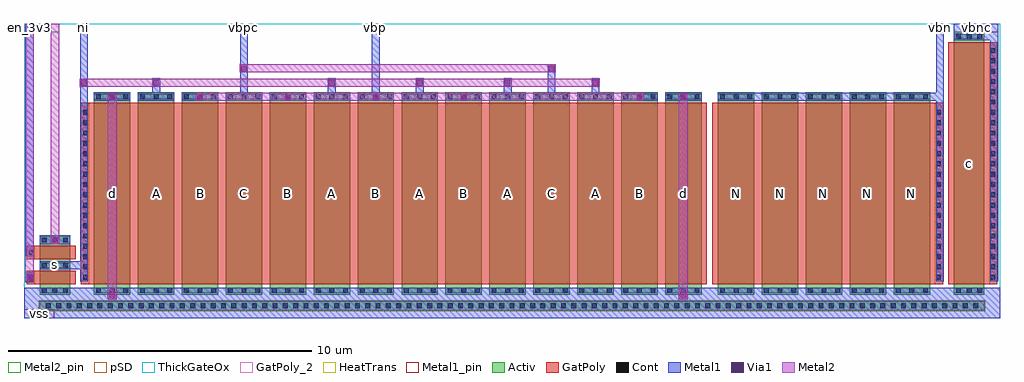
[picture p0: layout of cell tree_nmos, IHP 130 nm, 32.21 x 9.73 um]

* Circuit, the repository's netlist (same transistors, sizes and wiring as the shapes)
* SPDX-FileCopyrightText: 2026 Christoph Maier
* SPDX-License-Identifier: Apache-2.0
* tree_nmos: NMOS half of bias_tree_noab_pd (+ bias_diodes BN, BNC) as drawn in tree_nmos.gds,
* one line per finger; generated by build_tree_nmos.py. Parallel fingers sum to the source W:
* NI 5 x 1.2 = 6u, NBP 5 x 1.2 = 6u, NBPC 2 x 1.2 = 2.4u, MDBN 2 x 1.2 = 2.4u, BN 5 x 1.2 = 6u.
.subckt tree_nmos vss ni iref vbp vbpc vbn vbnc en_3v3 en_3v3_b
XMDBN_f0 vss ni vss vss sg13_hv_nmos w=1.2u l=6u ng=1
XNI_f1 ni ni vss vss sg13_hv_nmos w=1.2u l=6u ng=1
XNBP_f2 vbp ni vss vss sg13_hv_nmos w=1.2u l=6u ng=1
XNBPC_f3 vbpc ni vss vss sg13_hv_nmos w=1.2u l=6u ng=1
XNBP_f4 vbp ni vss vss sg13_hv_nmos w=1.2u l=6u ng=1
XNI_f5 ni ni vss vss sg13_hv_nmos w=1.2u l=6u ng=1
XNBP_f6 vbp ni vss vss sg13_hv_nmos w=1.2u l=6u ng=1
XNI_f7 ni ni vss vss sg13_hv_nmos w=1.2u l=6u ng=1
XNBP_f8 vbp ni vss vss sg13_hv_nmos w=1.2u l=6u ng=1
XNI_f9 ni ni vss vss sg13_hv_nmos w=1.2u l=6u ng=1
XNBPC_f10 vbpc ni vss vss sg13_hv_nmos w=1.2u l=6u ng=1
XNI_f11 ni ni vss vss sg13_hv_nmos w=1.2u l=6u ng=1
XNBP_f12 vbp ni vss vss sg13_hv_nmos w=1.2u l=6u ng=1
XMDBN_f13 vss ni vss vss sg13_hv_nmos w=1.2u l=6u ng=1
XBN_f0 vbn vbn vss vss sg13_hv_nmos w=1.2u l=6u ng=1
XBN_f1 vbn vbn vss vss sg13_hv_nmos w=1.2u l=6u ng=1
XBN_f2 vbn vbn vss vss sg13_hv_nmos w=1.2u l=6u ng=1
XBN_f3 vbn vbn vss vss sg13_hv_nmos w=1.2u l=6u ng=1
XBN_f4 vbn vbn vss vss sg13_hv_nmos w=1.2u l=6u ng=1
XBNC vbnc vbnc vss vss sg13_hv_nmos w=1u l=8u ng=1
XTDN ni en_3v3_b vss vss sg13_hv_nmos w=1u l=0.45u ng=1
XTGN iref en_3v3 ni vss sg13_hv_nmos w=1u l=0.45u ng=1
.ends tree_nmos

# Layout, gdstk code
from math import pi, radians
import gdstk
lib = gdstk.Library(unit=1e-6, precision=1e-09)
def R(c, l, rs):  # rectangles x0, y0, x1, y1
    for r in rs: c.add(gdstk.rectangle(r[:2], r[2:], *l))
def A(c, l, x, y, w, h, nx, ny, dx, dy):  # array of equal rectangles
    R(c, l, [(x+i*dx, y+j*dy, x+i*dx+w, y+j*dy+h) for i in range(nx) for j in range(ny)])
Activ = (1, 0)
GatPoly = (5, 0)
GatPoly_2 = (5, 2)
Cont = (6, 0)
Metal1 = (8, 0)
Metal1_pin = (8, 2)
Metal2 = (10, 0)
Metal2_pin = (10, 2)
pSD = (14, 0)
Via1 = (19, 0)
ThickGateOx = (44, 0)
HeatTrans = (51, 0)

tree_nmos_nmoshv_w1p2_l6 = lib.new_cell('tree_nmos_nmosHV_w1p2_l6')
R(tree_nmos_nmoshv_w1p2_l6, Activ, [(0,0,0.3,0.3), (0,0,6.68,1.2), (6.38,0,6.68,0.3)])
R(tree_nmos_nmoshv_w1p2_l6, GatPoly, [(0.34,-0.18,6.34,1.38)])
R(tree_nmos_nmoshv_w1p2_l6, GatPoly_2, [(0.34,-0.18,6.34,1.38)])
A(tree_nmos_nmoshv_w1p2_l6, Cont, 0.07, 0.07, 0.16, 0.16, 1, 3, 0, 0.45)
A(tree_nmos_nmoshv_w1p2_l6, Cont, 6.45, 0.07, 0.16, 0.16, 1, 3, 0, 0.45)
R(tree_nmos_nmoshv_w1p2_l6, Metal1, [(0.07,0,0.23,1.2), (6.45,0,6.61,1.2)])
R(tree_nmos_nmoshv_w1p2_l6, Metal1_pin, [(0.07,0,0.23,1.2), (6.45,0,6.61,1.2)])
R(tree_nmos_nmoshv_w1p2_l6, ThickGateOx, [(-0.27,-0.52,6.95,1.72)])
R(tree_nmos_nmoshv_w1p2_l6, HeatTrans, [(0.34,-0.18,6.34,1.38)])
tree_nmos_nmoshv_w1p2_l6.add(gdstk.Label('nmosHV', (3.34,0.6), layer=63, texttype=0))
tree_nmos_nmoshv_w1p2_l6.add(gdstk.Label('nmosHV', (3.34,0.6), layer=51, texttype=0))

tree_nmos_nmoshv_w1_l8 = lib.new_cell('tree_nmos_nmosHV_w1_l8')
R(tree_nmos_nmoshv_w1_l8, Activ, [(0,0,0.3,0.3), (0,0,8.68,1), (8.38,0,8.68,0.3)])
R(tree_nmos_nmoshv_w1_l8, GatPoly, [(0.34,-0.18,8.34,1.18)])
R(tree_nmos_nmoshv_w1_l8, GatPoly_2, [(0.34,-0.18,8.34,1.18)])
A(tree_nmos_nmoshv_w1_l8, Cont, 0.07, 0.07, 0.16, 0.16, 1, 3, 0, 0.35)
A(tree_nmos_nmoshv_w1_l8, Cont, 8.45, 0.07, 0.16, 0.16, 1, 3, 0, 0.35)
R(tree_nmos_nmoshv_w1_l8, Metal1, [(0.07,0,0.23,1), (8.45,0,8.61,1)])
R(tree_nmos_nmoshv_w1_l8, Metal1_pin, [(0.07,0,0.23,1), (8.45,0,8.61,1)])
R(tree_nmos_nmoshv_w1_l8, ThickGateOx, [(-0.27,-0.52,8.95,1.52)])
R(tree_nmos_nmoshv_w1_l8, HeatTrans, [(0.34,-0.18,8.34,1.18)])
tree_nmos_nmoshv_w1_l8.add(gdstk.Label('nmosHV', (4.34,0.5), layer=63, texttype=0))
tree_nmos_nmoshv_w1_l8.add(gdstk.Label('nmosHV', (4.34,0.5), layer=51, texttype=0))

tree_nmos_nmoshv_w2_l0p4 = lib.new_cell('tree_nmos_nmosHV_w2_l0p45_ng2')
A(tree_nmos_nmoshv_w2_l0p4, Activ, 0, 0, 0.3, 0.3, 3, 1, 0.83, 0)
R(tree_nmos_nmoshv_w2_l0p4, Activ, [(0,0,1.96,1)])
R(tree_nmos_nmoshv_w2_l0p4, GatPoly, [(0.34,-0.18,0.79,1.18), (1.17,-0.18,1.62,1.18)])
R(tree_nmos_nmoshv_w2_l0p4, GatPoly_2, [(0.34,-0.18,0.79,1.18)])
A(tree_nmos_nmoshv_w2_l0p4, Cont, 0.07, 0.07, 0.16, 0.16, 3, 3, 0.83, 0.35)
A(tree_nmos_nmoshv_w2_l0p4, Metal1, 0.07, 0, 0.16, 1, 3, 1, 0.83, 0)
R(tree_nmos_nmoshv_w2_l0p4, Metal1_pin, [(0.07,0,0.23,1), (0.9,0,1.06,1)])
R(tree_nmos_nmoshv_w2_l0p4, ThickGateOx, [(-0.27,-0.52,2.23,1.52)])
R(tree_nmos_nmoshv_w2_l0p4, HeatTrans, [(0.34,-0.18,0.79,1.18), (1.17,-0.18,1.62,1.18)])
tree_nmos_nmoshv_w2_l0p4.add(gdstk.Label('nmosHV', (0.565,0.5), layer=63, texttype=0))
tree_nmos_nmoshv_w2_l0p4.add(gdstk.Label('nmosHV', (0.565,0.5), layer=51, texttype=0))
tree_nmos_nmoshv_w2_l0p4.add(gdstk.Label('nmosHV', (1.395,0.5), layer=51, texttype=0))

tree_nmos = lib.new_cell('tree_nmos')
R(tree_nmos, Activ, [(-1.79,-0.51,29.38,-0.21)])
R(tree_nmos, GatPoly, [(-2.22,0.34,-1.97,0.79), (-0.43,0.34,-0.18,6.34), (27.77,0.34,28.02,6.34), (29.56,0.34,29.81,8.34), (-2.22,1.17,-1.97,1.62)])
A(tree_nmos, Cont, -1.585, -0.44, 0.16, 0.16, 91, 1, 0.34, 0)
A(tree_nmos, Cont, -0.36, 0.5, 0.16, 0.16, 1, 17, 0, 0.34)
A(tree_nmos, Cont, 27.79, 0.5, 0.16, 0.16, 1, 17, 0, 0.34)
A(tree_nmos, Cont, 29.58, 0.5, 0.16, 0.16, 1, 23, 0, 0.34)
R(tree_nmos, Cont, [(-2.15,0.485,-1.99,0.645), (-2.15,1.315,-1.99,1.475)])
A(tree_nmos, Metal1, 0, 6.4, 1.2, 0.26, 14, 1, 1.45, 0)
A(tree_nmos, Metal1, 7.72, 6.4, 0.26, 0.745, 4, 1, 2.9, 0)
R(tree_nmos, Metal1, [(-2.31,-0.78,29.9,0.23), (-2.27,0.42,-1.99,0.745), (-0.46,0.45,-0.2,8.95), (27.79,0.45,28.05,8.95), (29.58,0.45,29.84,8.66), (-1.79,0.85,-0.2,1.11), (-2.25,1.265,-1.99,8.95), (-1.79,1.665,-0.79,1.955), (1.92,6.4,2.18,7.145), (4.82,6.4,5.08,8.95), (9.17,6.4,9.43,8.95), (14.97,6.4,15.23,7.615), (20.59,6.4,28.05,6.66), (28.38,8.4,29.84,8.95)])
R(tree_nmos, Metal1_pin, [(-2.31,-0.78,-1.31,-0.48), (-2.25,8.66,-1.99,8.95), (-0.46,8.66,-0.2,8.95), (4.82,8.66,5.08,8.95), (9.17,8.66,9.43,8.95), (27.79,8.66,28.05,8.95), (28.38,8.66,29.84,8.95)])
R(tree_nmos, Metal2, [(0.455,-0.15,0.745,6.645), (19.305,-0.15,19.595,6.645), (-2.27,0.44,-1.99,8.95), (-1.43,1.665,-1.15,8.95), (3.355,6.4,18.145,6.66), (-0.475,6.87,16.695,7.13), (4.805,7.34,15.245,7.6)])
R(tree_nmos, Metal2_pin, [(-2.27,8.66,-1.99,8.95), (-1.43,8.66,-1.15,8.95)])
R(tree_nmos, pSD, [(-1.82,-0.54,29.41,-0.18)])
A(tree_nmos, Via1, 0.505, 6.435, 0.19, 0.19, 5, 1, 2.9, 0)
A(tree_nmos, Via1, 7.755, 6.905, 0.19, 0.19, 4, 1, 2.9, 0)
R(tree_nmos, Via1, [(0.505,-0.095,0.695,0.095), (19.355,-0.095,19.545,0.095), (-2.225,0.49,-2.035,0.68), (-1.385,1.715,-1.195,1.905), (17.905,6.435,18.095,6.625), (19.355,6.435,19.545,6.625), (-0.425,6.905,-0.235,7.095), (1.955,6.905,2.145,7.095), (4.855,7.375,5.045,7.565), (15.005,7.375,15.195,7.565)])
R(tree_nmos, ThickGateOx, [(-2.31,-0.78,29.9,8.95)])
tree_nmos.add(gdstk.Reference(tree_nmos_nmoshv_w1p2_l6, (0,0), rotation=pi/2, x_reflection=True))
tree_nmos.add(gdstk.Reference(tree_nmos_nmoshv_w1p2_l6, (1.45,0), rotation=pi/2, x_reflection=True))
tree_nmos.add(gdstk.Reference(tree_nmos_nmoshv_w1p2_l6, (2.9,0), rotation=pi/2, x_reflection=True))
tree_nmos.add(gdstk.Reference(tree_nmos_nmoshv_w1p2_l6, (4.35,0), rotation=pi/2, x_reflection=True))
tree_nmos.add(gdstk.Reference(tree_nmos_nmoshv_w1p2_l6, (5.8,0), rotation=pi/2, x_reflection=True))
tree_nmos.add(gdstk.Reference(tree_nmos_nmoshv_w1p2_l6, (7.25,0), rotation=pi/2, x_reflection=True))
tree_nmos.add(gdstk.Reference(tree_nmos_nmoshv_w1p2_l6, (8.7,0), rotation=pi/2, x_reflection=True))
tree_nmos.add(gdstk.Reference(tree_nmos_nmoshv_w1p2_l6, (10.15,0), rotation=pi/2, x_reflection=True))
tree_nmos.add(gdstk.Reference(tree_nmos_nmoshv_w1p2_l6, (11.6,0), rotation=pi/2, x_reflection=True))
tree_nmos.add(gdstk.Reference(tree_nmos_nmoshv_w1p2_l6, (13.05,0), rotation=pi/2, x_reflection=True))
tree_nmos.add(gdstk.Reference(tree_nmos_nmoshv_w1p2_l6, (14.5,0), rotation=pi/2, x_reflection=True))
tree_nmos.add(gdstk.Reference(tree_nmos_nmoshv_w1p2_l6, (15.95,0), rotation=pi/2, x_reflection=True))
tree_nmos.add(gdstk.Reference(tree_nmos_nmoshv_w1p2_l6, (17.4,0), rotation=pi/2, x_reflection=True))
tree_nmos.add(gdstk.Reference(tree_nmos_nmoshv_w1p2_l6, (18.85,0), rotation=pi/2, x_reflection=True))
tree_nmos.add(gdstk.Reference(tree_nmos_nmoshv_w1p2_l6, (20.59,0), rotation=pi/2, x_reflection=True))
tree_nmos.add(gdstk.Reference(tree_nmos_nmoshv_w1p2_l6, (22.04,0), rotation=pi/2, x_reflection=True))
tree_nmos.add(gdstk.Reference(tree_nmos_nmoshv_w1p2_l6, (23.49,0), rotation=pi/2, x_reflection=True))
tree_nmos.add(gdstk.Reference(tree_nmos_nmoshv_w1p2_l6, (24.94,0), rotation=pi/2, x_reflection=True))
tree_nmos.add(gdstk.Reference(tree_nmos_nmoshv_w1p2_l6, (26.39,0), rotation=pi/2, x_reflection=True))
tree_nmos.add(gdstk.Reference(tree_nmos_nmoshv_w1_l8, (28.38,0), rotation=pi/2, x_reflection=True))
tree_nmos.add(gdstk.Reference(tree_nmos_nmoshv_w2_l0p4, (-1.79,0), rotation=pi/2, x_reflection=True))
tree_nmos.add(gdstk.Label('vss', (-1.81,-0.63), layer=8, texttype=25))
tree_nmos.add(gdstk.Label('ni', (-0.33,8.805), layer=8, texttype=25))
tree_nmos.add(gdstk.Label('vbn', (27.92,8.805), layer=8, texttype=25))
tree_nmos.add(gdstk.Label('vbpc', (4.95,8.805), layer=8, texttype=25))
tree_nmos.add(gdstk.Label('vbp', (9.3,8.805), layer=8, texttype=25))
tree_nmos.add(gdstk.Label('vbnc', (29.11,8.805), layer=8, texttype=25))
tree_nmos.add(gdstk.Label('en_3v3', (-2.12,8.805), layer=8, texttype=25))
tree_nmos.add(gdstk.Label('en_3v3_b', (-2.13,8.805), layer=10, texttype=25))
tree_nmos.add(gdstk.Label('iref', (-1.29,8.805), layer=10, texttype=25))
tree_nmos.add(gdstk.Label('d', (0.6,3.34), layer=63, texttype=0))
tree_nmos.add(gdstk.Label('A', (2.05,3.34), layer=63, texttype=0))
tree_nmos.add(gdstk.Label('B', (3.5,3.34), layer=63, texttype=0))
tree_nmos.add(gdstk.Label('C', (4.95,3.34), layer=63, texttype=0))
tree_nmos.add(gdstk.Label('B', (6.4,3.34), layer=63, texttype=0))
tree_nmos.add(gdstk.Label('A', (7.85,3.34), layer=63, texttype=0))
tree_nmos.add(gdstk.Label('B', (9.3,3.34), layer=63, texttype=0))
tree_nmos.add(gdstk.Label('A', (10.75,3.34), layer=63, texttype=0))
tree_nmos.add(gdstk.Label('B', (12.2,3.34), layer=63, texttype=0))
tree_nmos.add(gdstk.Label('A', (13.65,3.34), layer=63, texttype=0))
tree_nmos.add(gdstk.Label('C', (15.1,3.34), layer=63, texttype=0))
tree_nmos.add(gdstk.Label('A', (16.55,3.34), layer=63, texttype=0))
tree_nmos.add(gdstk.Label('B', (18,3.34), layer=63, texttype=0))
tree_nmos.add(gdstk.Label('d', (19.45,3.34), layer=63, texttype=0))
tree_nmos.add(gdstk.Label('N', (21.19,3.34), layer=63, texttype=0))
tree_nmos.add(gdstk.Label('N', (22.64,3.34), layer=63, texttype=0))
tree_nmos.add(gdstk.Label('N', (24.09,3.34), layer=63, texttype=0))
tree_nmos.add(gdstk.Label('N', (25.54,3.34), layer=63, texttype=0))
tree_nmos.add(gdstk.Label('N', (26.99,3.34), layer=63, texttype=0))
tree_nmos.add(gdstk.Label('c', (28.88,4.34), layer=63, texttype=0))
tree_nmos.add(gdstk.Label('s', (-1.29,1), layer=63, texttype=0))

lib.write_gds('tree_nmos.gds')
